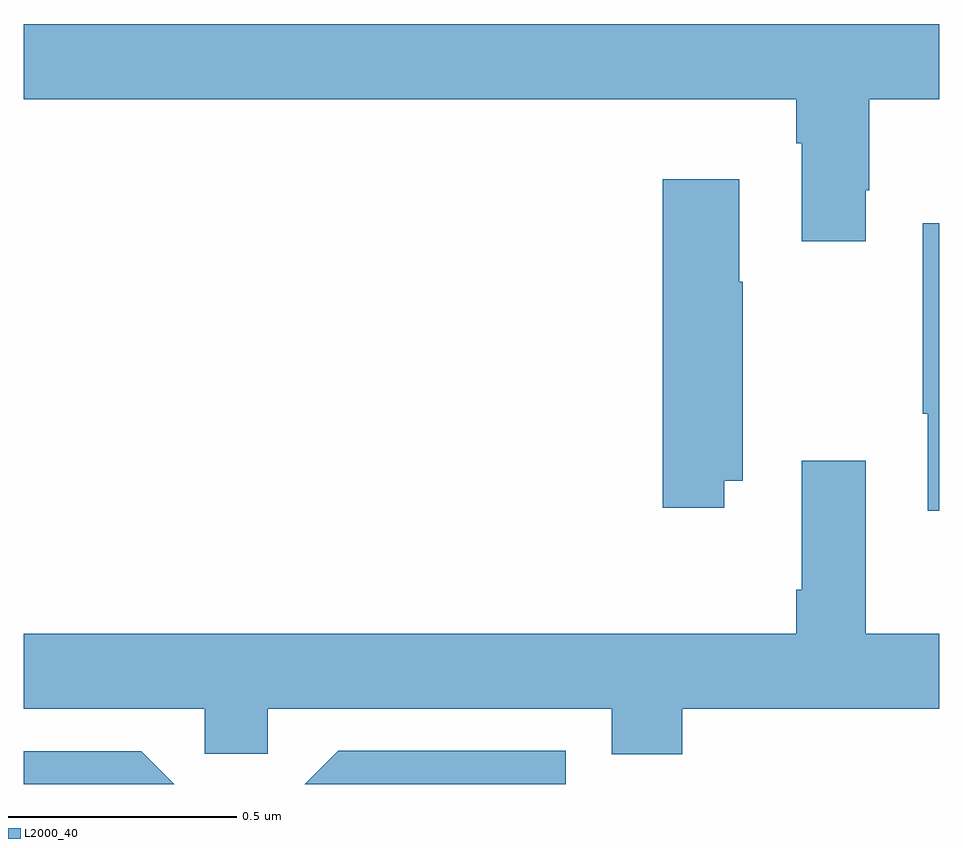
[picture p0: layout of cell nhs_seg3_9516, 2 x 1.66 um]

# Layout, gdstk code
import gdstk
lib = gdstk.Library(unit=1e-6, precision=1e-09)
def P(c, l, *ps):  # polygons
    for p in ps: c.add(gdstk.Polygon(p, *l))
L2000_40 = (2000, 40)

nhs_seg3_9516 = lib.new_cell('nhs_seg3_9516')
P(nhs_seg3_9516, L2000_40, [(230.839,720.697),(230.847,720.697),(230.847,720.896),(231,720.896),(231,721.06),(229,721.06),(229,720.896),(230.687,720.896),(230.687,720.8),(230.699,720.8),(230.699,720.585),(230.839,720.585)],
  [(230.53,720.062),(230.571,720.062),(230.571,720.497),(230.563,720.497),(230.563,720.721),(230.396,720.721),(230.396,720.003),(230.53,720.003)],
  [(231,720.625),(230.964,720.625),(230.964,720.209),(230.975,720.209),(230.975,719.997),(231,719.997)],
  [(230.438,719.564),(231,719.564),(231,719.728),(230.839,719.728),(230.839,720.106),(230.699,720.106),(230.699,719.824),(230.687,719.824),(230.687,719.728),(229,719.728),(229,719.564),(229.395,719.564),(229.395,719.466),(229.533,719.466),(229.533,719.564),(230.285,719.564),(230.285,719.465),(230.438,719.465)],
  [(230.184,719.473),(229.687,719.473),(229.614,719.4),(230.184,719.4)],
  [(229.257,719.472),(229,719.472),(229,719.4),(229.329,719.4)])

lib.write_gds('nhs_seg3_9516.gds')
